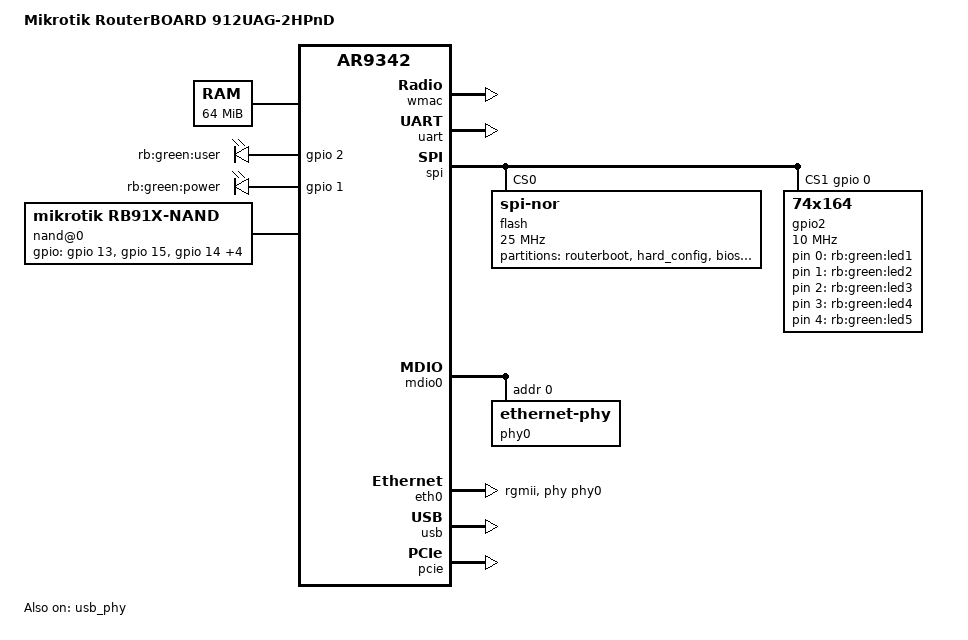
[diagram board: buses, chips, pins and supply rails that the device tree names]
// SPDX-License-Identifier: GPL-2.0
/dts-v1/;

#include <dt-bindings/gpio/gpio.h>
#include <dt-bindings/input/input.h>

#include "ar9342.dtsi"

/ {
	compatible = "mikrotik,rb912UAG-2HPnD", "qca,ar9342";
	model = "Mikrotik RouterBOARD 912UAG-2HPnD";


	memory@0 {
		device_type = "memory";
		reg = <0x0 0x4000000>;
	};

	leds {
		compatible = "gpio-leds";
		
		led1 {
			label = "rb:green:led1";
			gpios = <&gpio2 0 GPIO_ACTIVE_HIGH>;
			default-state = "on";
		};

		led2 {
			label = "rb:green:led2";
			gpios = <&gpio2 1 GPIO_ACTIVE_HIGH>;
		};

		led3 {
			label = "rb:green:led3";
			gpios = <&gpio2 2 GPIO_ACTIVE_HIGH>;
		};

		led4 {
			label = "rb:green:led4";
			gpios = <&gpio2 3 GPIO_ACTIVE_HIGH>;
		};
		led5 {
			label = "rb:green:led5";
			gpios = <&gpio2 4 GPIO_ACTIVE_HIGH>;
		};

		user {
			label = "rb:green:user";
			gpios = <&gpio 2 GPIO_ACTIVE_HIGH>;
		};
		power {
			label = "rb:green:power";
			gpios = <&gpio 1 GPIO_ACTIVE_HIGH>;
			default-state = "on";
		};
	};
	
	nand@0 {
		compatible = "mikrotik,rb91x-nand";
		gpios = <&gpio 13 0>, <&gpio 15 0>, <&gpio 14 0>, <&gpio 3 0>, <&gpio 12 0>, <&gpio 4 0>, <&gpio 11 0>;
	};

};

&wmac {
	status = "okay";

	eeprom-name = "soc_wmac.eeprom";
	mtd-mac-address = <&hard_config 0x10>;
	mtd-mac-address-increment = <1>;
};


&ref {
	clock-frequency = <25000000>;
};

&uart {
	status = "okay";
};

&gpio {
	status = "okay";
};

&spi {
	status = "okay";
	num-cs = <2>;
	cs-gpios = <0>, <&gpio 0 0>;

	flash@0 {
		#address-cells = <1>;
		#size-cells = <1>;
		compatible = "jedec,spi-nor";
		reg = <0>;
		spi-max-frequency = <25000000>;

		partitions {
			compatible = "fixed-partitions";
			#address-cells = <1>;
			#size-cells = <1>;

			routerboot: partition@0 {
				label = "routerboot";
				reg = <0x000000 0xc000>;
			};

			hard_config: partition@c000 {
				label = "hard_config";
				reg = <0xc000 0x1000>;
			};

			bios: partition@d000 {
				label = "bios";
				reg = <0xd000 0x1000>;
			};
			soft_config: partition@e000 {
				label = "soft_config";
				reg = <0xe000 0x1000>;
			};
		};
	};
	gpio2: 74x164@1 {
		compatible = "74x164";
		reg = <1>;
		spi-max-frequency = <10000000>;
		gpio-controller;
		#gpio-cells = <2>;
		registers-number = <1>;
		init-data = /bits/ 8 <0xe0>;
	};
};

&mdio0 {
	status = "okay";

	phy-mask = <0>;

	phy0: ethernet-phy@0 {
		reg = <0>;
		phy-mode = "rgmii";
	};
};

&eth0 {
	status = "okay";

	/* default for ar934x, except for 1000M */
	pll-data = <0x06000000 0x00000101 0x00001616>;

	mtd-mac-address = <&hard_config 0x10>;

	phy-mode = "rgmii";
	phy-handle = <&phy0>;
};

&usb {
	status = "okay";

	port@1 {
		reg = <1>;
		#trigger-source-cells = <0>;
	};
};

&usb_phy {
	status = "okay";
};

&pcie {
	status = "okay";
};
